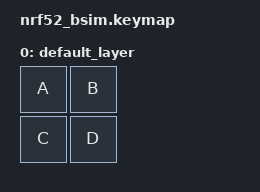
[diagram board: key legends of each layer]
#include <behaviors.dtsi>
#include <dt-bindings/zmk/keys.h>
#include <dt-bindings/zmk/kscan_mock.h>

// The mock waits an event's delay both before the first event and after each event, so the five
// key releases land around 10.5 s: mid-way between the WPM updates at 10 s, which resets the WPM
// count, and at 11 s. The following updates then give 60, 30, 20, 15, 12 and 0 WPM.
&kscan {
    /delete-property/ exit-after;
    events =
    <ZMK_MOCK_PRESS(0,0,5250)
    ZMK_MOCK_RELEASE(0,0,10)
    ZMK_MOCK_PRESS(0,0,10)
    ZMK_MOCK_RELEASE(0,0,10)
    ZMK_MOCK_PRESS(0,0,10)
    ZMK_MOCK_RELEASE(0,0,10)
    ZMK_MOCK_PRESS(0,0,10)
    ZMK_MOCK_RELEASE(0,0,10)
    ZMK_MOCK_PRESS(0,0,10)
    ZMK_MOCK_RELEASE(0,0,10)>;
};
/ {
    keymap {
        compatible = "zmk,keymap";

        default_layer {
            bindings = <
            &kp A &kp B
            &kp C &kp D>;
        };
    };
};
